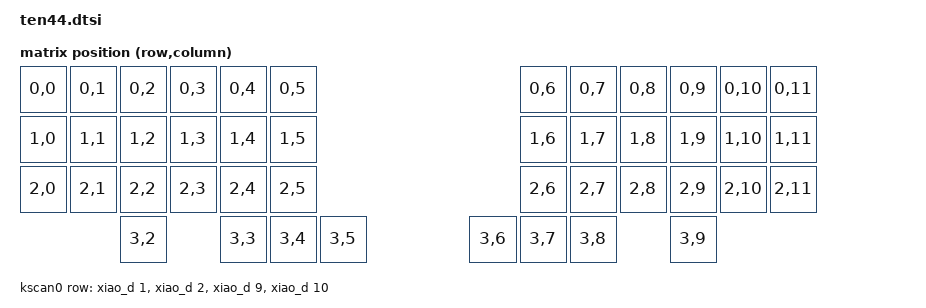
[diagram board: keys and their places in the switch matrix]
#include <dt-bindings/zmk/matrix_transform.h>

/ {
    chosen {
        zmk,physical-layout = &default_layout;
        zmk,studio-rpc-uart = &uart1;
    };

    // New node to fix the "undefined node label 'key_physical_attrs'" error
    key_physical_attrs: key_physical_attrs {
        compatible = "zmk,key-physical-attrs";
				#key-cells = <7>;
    };

    default_transform: default_transform {
        compatible = "zmk,matrix-transform";
        columns = <12>;
        rows = <4>;
// | SW1  | SW2  | SW3  | SW4  | SW5  | SW6  |   | SW6  | SW5  | SW4  | SW3  | SW2  | SW1  |
// | SW7  | SW8  | SW9  | SW10 | SW11 | SW12 |   | SW12 | SW11 | SW10 | SW9  | SW8  | SW7  |
// | SW13 | SW14 | SW15 | SW16 | SW17 | SW18 |   | SW18 | SW17 | SW16 | SW15 | SW14 | SW13 |
//               | SW18 | SW19 | SW20 | SW21 |   | SW21 | SW20 | SW19 | SW18 |
        map = <
RC(0,0) RC(0,1) RC(0,2) RC(0,3) RC(0,4) RC(0,5)    RC(0,6) RC(0,7) RC(0,8) RC(0,9) RC(0,10) RC(0,11)
RC(1,0) RC(1,1) RC(1,2) RC(1,3) RC(1,4) RC(1,5)    RC(1,6) RC(1,7) RC(1,8) RC(1,9) RC(1,10) RC(1,11)
RC(2,0) RC(2,1) RC(2,2) RC(2,3) RC(2,4) RC(2,5)    RC(2,6) RC(2,7) RC(2,8) RC(2,9) RC(2,10) RC(2,11)
                RC(3,2) RC(3,3) RC(3,4) RC(3,5)    RC(3,6) RC(3,7) RC(3,8) RC(3,9)
        >;
    };

    kscan0: kscan {
        compatible = "zmk,kscan-gpio-matrix";

        diode-direction = "col2row";
        row-gpios 
            = <&xiao_d 1  (GPIO_ACTIVE_HIGH | GPIO_PULL_DOWN)>
            , <&xiao_d 2  (GPIO_ACTIVE_HIGH | GPIO_PULL_DOWN)>
            , <&xiao_d 9  (GPIO_ACTIVE_HIGH | GPIO_PULL_DOWN)>
            , <&xiao_d 10 (GPIO_ACTIVE_HIGH | GPIO_PULL_DOWN)>
            ;
    };

    default_layout: default_layout {
        compatible = "zmk,physical-layout";
        display-name = "Default";
        
        transform = <&default_transform>;
        kscan = <&kscan0>;
        
        // Corrected the DTS syntax: used '=' only once, then ',' for continuation.
        keys
            = <&key_physical_attrs 100 100 000  0 0 0 0>
            , <&key_physical_attrs 100 100 100  0 0 0 0>
            , <&key_physical_attrs 100 100 200  0 0 0 0>
            , <&key_physical_attrs 100 100 300  0 0 0 0>
            , <&key_physical_attrs 100 100 400  0 0 0 0>
            , <&key_physical_attrs 100 100 500  0 0 0 0>
            , <&key_physical_attrs 100 100 1000 0 0 0 0>
            , <&key_physical_attrs 100 100 1100 0 0 0 0>
            , <&key_physical_attrs 100 100 1200 0 0 0 0>
            , <&key_physical_attrs 100 100 1300 0 0 0 0>
            , <&key_physical_attrs 100 100 1400 0 0 0 0>
            , <&key_physical_attrs 100 100 1500 0 0 0 0>

            , <&key_physical_attrs 100 100 000  100 0 0 0>
            , <&key_physical_attrs 100 100 100  100 0 0 0>
            , <&key_physical_attrs 100 100 200  100 0 0 0>
            , <&key_physical_attrs 100 100 300  100 0 0 0>
            , <&key_physical_attrs 100 100 400  100 0 0 0>
            , <&key_physical_attrs 100 100 500  100 0 0 0>
            , <&key_physical_attrs 100 100 1000 100 0 0 0>
            , <&key_physical_attrs 100 100 1100 100 0 0 0>
            , <&key_physical_attrs 100 100 1200 100 0 0 0>
            , <&key_physical_attrs 100 100 1300 100 0 0 0>
            , <&key_physical_attrs 100 100 1400 100 0 0 0>
            , <&key_physical_attrs 100 100 1500 100 0 0 0>

            , <&key_physical_attrs 100 100 000  200 0 0 0>
            , <&key_physical_attrs 100 100 100  200 0 0 0>
            , <&key_physical_attrs 100 100 200  200 0 0 0>
            , <&key_physical_attrs 100 100 300  200 0 0 0>
            , <&key_physical_attrs 100 100 400  200 0 0 0>
            , <&key_physical_attrs 100 100 500  200 0 0 0>            
            , <&key_physical_attrs 100 100 1000 200 0 0 0>
            , <&key_physical_attrs 100 100 1100 200 0 0 0>
            , <&key_physical_attrs 100 100 1200 200 0 0 0>
            , <&key_physical_attrs 100 100 1300 200 0 0 0>
            , <&key_physical_attrs 100 100 1400 200 0 0 0>
            , <&key_physical_attrs 100 100 1500 200 0 0 0>

            , <&key_physical_attrs 100 100 200  300 0 0 0>
            , <&key_physical_attrs 100 100 400  300 0 0 0>
            , <&key_physical_attrs 100 100 500  300 0 0 0>
            , <&key_physical_attrs 100 100 600  300 0 0 0>
            , <&key_physical_attrs 100 100 900  300 0 0 0>
            , <&key_physical_attrs 100 100 1000 300 0 0 0>            
            , <&key_physical_attrs 100 100 1100 300 0 0 0>
            , <&key_physical_attrs 100 100 1300 300 0 0 0>
            ;
    };
};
